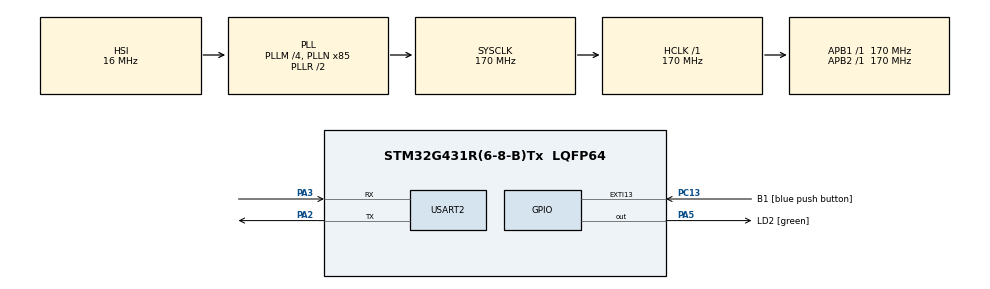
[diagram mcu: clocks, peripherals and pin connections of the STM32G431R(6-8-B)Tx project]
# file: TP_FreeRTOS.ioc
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FREERTOS.Tasks01=defaultTask,0,128,StartDefaultTask,Default,NULL,Dynamic,NULL,NULL
FREERTOS.configTOTAL_HEAP_SIZE=20000
FREERTOS.configUSE_NEWLIB_REENTRANT=1
Mcu.Family=STM32G4
Mcu.Name=STM32G431R(6-8-B)Tx
Mcu.Package=LQFP64
NVIC.PriorityGroup=NVIC_PRIORITYGROUP_4
NVIC.TIM1_UP_TIM16_IRQn=true\:15\:0\:false\:false\:true\:false\:false\:true\:true
NVIC.TimeBase=TIM1_UP_TIM16_IRQn
NVIC.TimeBaseIP=TIM16
PA13.GPIO_Label=T_SWDIO
PA13.Signal=SYS_JTMS-SWDIO
PA14.GPIO_Label=T_SWCLK
PA14.Signal=SYS_JTCK-SWCLK
PA2.Mode=Asynchronous
PA2.Signal=USART2_TX
PA3.Mode=Asynchronous
PA3.Signal=USART2_RX
PA5.GPIO_Label=LD2 [green]
PA5.Signal=GPIO_Output
PB3.GPIO_Label=T_SWO
PB3.Signal=SYS_JTDO-SWO
PC13.GPIO_Label=B1 [blue push button]
PC13.Signal=GPXTI13
PC14-OSC32_IN.GPIO_Label=RCC_OSC32_OUT
PC14-OSC32_IN.Signal=RCC_OSC32_IN
PC15-OSC32_OUT.GPIO_Label=RCC_OSC32_OUT
PC15-OSC32_OUT.Signal=RCC_OSC32_OUT
PF0-OSC_IN.GPIO_Label=RCC_OSC_IN
PF0-OSC_IN.Signal=RCC_OSC_IN
PF1-OSC_OUT.GPIO_Label=RCC_OSC_OUT
PF1-OSC_OUT.Signal=RCC_OSC_OUT
ProjectManager.HeapSize=0x200
ProjectManager.StackSize=0x400
ProjectManager.TargetToolchain=STM32CubeIDE
RCC.ADC12Freq_Value=170000000
RCC.AHBFreq_Value=170000000
RCC.APB1Freq_Value=170000000
RCC.APB1TimFreq_Value=170000000
RCC.APB2Freq_Value=170000000
RCC.APB2TimFreq_Value=170000000
RCC.CortexFreq_Value=170000000
RCC.EXTERNAL_CLOCK_VALUE=12288000
RCC.HCLKFreq_Value=170000000
RCC.HSE_VALUE=24000000
RCC.HSI48_VALUE=48000000
RCC.HSI_VALUE=16000000
RCC.LSE_VALUE=32768
RCC.PLLM=RCC_PLLM_DIV4
RCC.PLLN=85
RCC.RTCClockSelection=RCC_RTCCLKSOURCE_LSE
RCC.SYSCLKFreq_VALUE=170000000
RCC.SYSCLKSource=RCC_SYSCLKSOURCE_PLLCLK
RCC.USBFreq_Value=170000000
RCC.VCOOutputFreq_Value=340000000
USART2.VirtualMode-Asynchronous=VM_ASYNC
VP_FREERTOS_VS_CMSIS_V1.Mode=CMSIS_V1
VP_SYS_VS_DBSignals.Mode=DisableDeadBatterySignals
VP_SYS_VS_tim16.Mode=TIM16
board=NUCLEO-G431RB

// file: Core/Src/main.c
/* USER CODE BEGIN Header */
/**
 ******************************************************************************
 * @file           : main.c
 * @brief          : Main program body
 ******************************************************************************
 * @attention
 *
 * Copyright (c) 2024 STMicroelectronics.
 * All rights reserved.
 *
 * This software is licensed under terms that can be found in the LICENSE file
 * in the root directory of this software component.
 * If no LICENSE file comes with this software, it is provided AS-IS.
 *
 ******************************************************************************
 */
/* USER CODE END Header */
#include "main.h"
#include "cmsis_os.h"
#include "usart.h"
#include "gpio.h"

/* USER CODE BEGIN Includes */
#include <stdio.h>
#include <stdlib.h>
#include "queue.h"  // Inclure la bibliothèque pour les queues

/* USER CODE END Includes */

/* USER CODE BEGIN PD */
#define STACK_SIZE 256

#define TASK1_PRIORITY 1
#define TASK2_PRIORITY 2

#define TASK1_DELAY 1
#define TASK2_DELAY 2

/* USER CODE END PD */

/* USER CODE BEGIN PV */
TaskHandle_t xHandle1;
TaskHandle_t xHandle2;
SemaphoreHandle_t xMutex;

/* USER CODE END PV */

void SystemClock_Config(void);
void MX_FREERTOS_Init(void);

/* USER CODE BEGIN 0 */
int __io_putchar(int ch) {
	HAL_UART_Transmit(&huart2, (uint8_t *)&ch, 1, HAL_MAX_DELAY);
	return ch;
}

/**
 * @brief  Gestion d'erreurs de création de tâche.
 * @param	BaseType_t	Retour de xTaskCreate.
 */
void errHandler_xTaskCreate(BaseType_t r)
{
	/* Vérification si la tâche a été créée avec succès */
	if (pdPASS == r) {
		/* Si la tâche est créée avec succès, démarrer le scheduler */
		printf("Tâche crée avec succès\r\n");
	} else if (errCOULD_NOT_ALLOCATE_REQUIRED_MEMORY == r) {
		printf("Erreur: Mémoire insuffisante\r\n");
		Error_Handler();
	} else {
		/* Cas improbable : code d'erreur non prévu pour xTaskCreate */
		printf("Erreur inconnue lors de la création de la tâche\r\n");
		Error_Handler();  	// Gestion d'erreur générique
		NVIC_SystemReset(); // Réinitialiser le microcontrôleur
	}
}

void tacheLed (void * pvParameters) {
	int compteur = 0;
	int duree = (int) pvParameters;
	char* s = pcTaskGetName(xTaskGetCurrentTaskHandle());

	while (1) {
		HAL_GPIO_TogglePin(LD2_GPIO_Port, LD2_Pin);
		printf("Je suis la tache %s et je m'endors pour %d ms\r\n", s, duree);
		vTaskDelay( duree / portTICK_PERIOD_MS );  // Délai de 100 ms
		compteur++;
	}
}

void task_bug(void * pvParameters)
{
    int delay = (int) pvParameters;

    for (;;)
    {
        if (xSemaphoreTake(xMutex, portMAX_DELAY) == pdTRUE) {
            printf("Je suis %s et je m'endors pour %d ticks\r\n",
                    pcTaskGetName(NULL), delay);
            xSemaphoreGive(xMutex); // Libérer le Mutex
        }

        vTaskDelay(delay);
    }
}

/* USER CODE END 0 */

int main(void)
{

	/* USER CODE BEGIN 1 */
	BaseType_t xReturned;

	/* USER CODE END 1 */

	/* MCU Configuration--------------------------------------------------------*/

	/* Reset of all peripherals, Initializes the Flash interface and the Systick. */
	HAL_Init();

	/* Configure the system clock */
	SystemClock_Config();

	/* Initialize all configured peripherals */
	MX_GPIO_Init();
	MX_USART2_UART_Init();
	/* USER CODE BEGIN 2 */

	/* 1.1
	// Create the task, storing the handle.
	xReturned = xTaskCreate(
			tacheLed, // Function that implements the task.
			"Task1", // Text name for the task.
			STACK_SIZE, // Stack size in words, not bytes.
			(void *) DELAY_1, // Parameter passed into the task.
			tskIDLE_PRIORITY,// Priority at which the task is created.
			&xHandle1); // Used to pass out the created task's handle.

	errHandler_xTaskCreate(xReturned);
	 */

	/* 1.2 */
	xMutex = xSemaphoreCreateMutex();
	if (xMutex == NULL) {
	    printf("Erreur lors de la création du Mutex\r\n");
	    Error_Handler();
	}

	ret = xTaskCreate(task_bug, "Tache 1", STACK_SIZE, \
			(void *) TASK1_DELAY, TASK1_PRIORITY, NULL);
	configASSERT(pdPASS == ret);
	errHandler_xTaskCreate(ret);

	ret = xTaskCreate(task_bug, "Tache 2", STACK_SIZE, \
			(void *) TASK2_DELAY, TASK2_PRIORITY, NULL);
	configASSERT(pdPASS == ret);
	errHandler_xTaskCreate(ret);

	vTaskStartScheduler();

	/* USER CODE END 2 */

	/* Call init function for freertos objects (in cmsis_os2.c) */
	MX_FREERTOS_Init();

	/* Start scheduler */
	osKernelStart();

	/* We should never get here as control is now taken by the scheduler */

	/* Infinite loop */
	while (1)
	{

	}
}

void SystemClock_Config(void)
{
	RCC_OscInitTypeDef RCC_OscInitStruct = {0};
	RCC_ClkInitTypeDef RCC_ClkInitStruct = {0};

	/** Configure the main internal regulator output voltage
	 */
	HAL_PWREx_ControlVoltageScaling(PWR_REGULATOR_VOLTAGE_SCALE1_BOOST);

	/** Initializes the RCC Oscillators according to the specified parameters
	 * in the RCC_OscInitTypeDef structure.
	 */
	RCC_OscInitStruct.OscillatorType = RCC_OSCILLATORTYPE_HSI;
	RCC_OscInitStruct.HSIState = RCC_HSI_ON;
	RCC_OscInitStruct.HSICalibrationValue = RCC_HSICALIBRATION_DEFAULT;
	RCC_OscInitStruct.PLL.PLLState = RCC_PLL_ON;
	RCC_OscInitStruct.PLL.PLLSource = RCC_PLLSOURCE_HSI;
	RCC_OscInitStruct.PLL.PLLM = RCC_PLLM_DIV4;
	RCC_OscInitStruct.PLL.PLLN = 85;
	RCC_OscInitStruct.PLL.PLLP = RCC_PLLP_DIV2;
	RCC_OscInitStruct.PLL.PLLQ = RCC_PLLQ_DIV2;
	RCC_OscInitStruct.PLL.PLLR = RCC_PLLR_DIV2;
	if (HAL_RCC_OscConfig(&RCC_OscInitStruct) != HAL_OK)
	{
		Error_Handler();
	}

	/** Initializes the CPU, AHB and APB buses clocks
	 */
	RCC_ClkInitStruct.ClockType = RCC_CLOCKTYPE_HCLK|RCC_CLOCKTYPE_SYSCLK
			|RCC_CLOCKTYPE_PCLK1|RCC_CLOCKTYPE_PCLK2;
	RCC_ClkInitStruct.SYSCLKSource = RCC_SYSCLKSOURCE_PLLCLK;
	RCC_ClkInitStruct.AHBCLKDivider = RCC_SYSCLK_DIV1;
	RCC_ClkInitStruct.APB1CLKDivider = RCC_HCLK_DIV1;
	RCC_ClkInitStruct.APB2CLKDivider = RCC_HCLK_DIV1;

	if (HAL_RCC_ClockConfig(&RCC_ClkInitStruct, FLASH_LATENCY_4) != HAL_OK)
	{
		Error_Handler();
	}
}

void HAL_TIM_PeriodElapsedCallback(TIM_HandleTypeDef *htim)
{
	if (htim->Instance == TIM16) {
		HAL_IncTick();
	}
}

void Error_Handler(void)
{
	__disable_irq();
	while (1)
	{
	}
}
